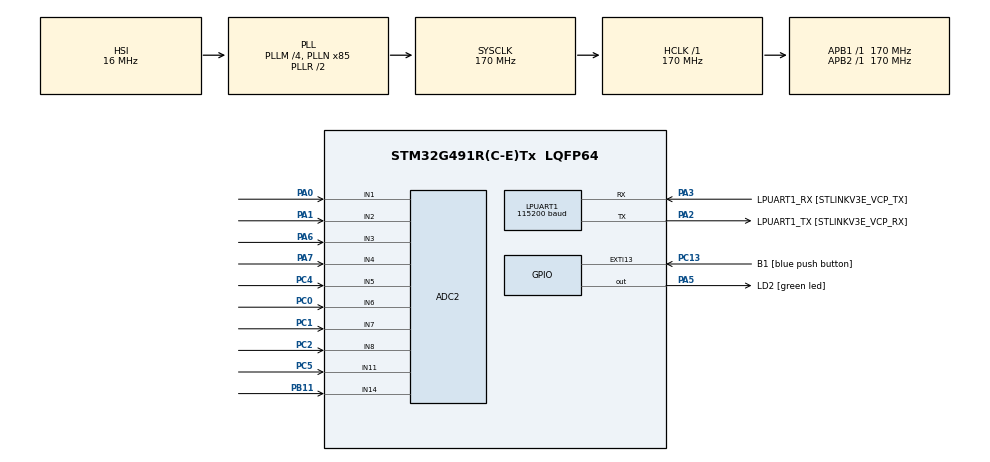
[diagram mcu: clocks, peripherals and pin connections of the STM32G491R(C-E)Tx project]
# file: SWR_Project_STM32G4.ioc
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ADC2.Channel-0\#ChannelRegularConversion=ADC_CHANNEL_1
ADC2.Channel-1\#ChannelRegularConversion=ADC_CHANNEL_2
ADC2.Channel-2\#ChannelRegularConversion=ADC_CHANNEL_3
ADC2.Channel-3\#ChannelRegularConversion=ADC_CHANNEL_4
ADC2.Channel-4\#ChannelRegularConversion=ADC_CHANNEL_5
ADC2.Channel-5\#ChannelRegularConversion=ADC_CHANNEL_6
ADC2.Channel-6\#ChannelRegularConversion=ADC_CHANNEL_7
ADC2.Channel-7\#ChannelRegularConversion=ADC_CHANNEL_8
ADC2.Channel-8\#ChannelRegularConversion=ADC_CHANNEL_11
ADC2.Channel-9\#ChannelRegularConversion=ADC_CHANNEL_14
ADC2.ContinuousConvMode=ENABLE
ADC2.DMAContinuousRequests=ENABLE
ADC2.NbrOfConversion=10
ADC2.NbrOfConversionFlag=1
ADC2.OffsetNumber-0\#ChannelRegularConversion=ADC_OFFSET_NONE
ADC2.OffsetNumber-1\#ChannelRegularConversion=ADC_OFFSET_NONE
ADC2.OffsetNumber-2\#ChannelRegularConversion=ADC_OFFSET_NONE
ADC2.OffsetNumber-3\#ChannelRegularConversion=ADC_OFFSET_NONE
ADC2.OffsetNumber-4\#ChannelRegularConversion=ADC_OFFSET_NONE
ADC2.OffsetNumber-5\#ChannelRegularConversion=ADC_OFFSET_NONE
ADC2.OffsetNumber-6\#ChannelRegularConversion=ADC_OFFSET_NONE
ADC2.OffsetNumber-7\#ChannelRegularConversion=ADC_OFFSET_NONE
ADC2.OffsetNumber-8\#ChannelRegularConversion=ADC_OFFSET_NONE
ADC2.OffsetNumber-9\#ChannelRegularConversion=ADC_OFFSET_NONE
ADC2.Rank-0\#ChannelRegularConversion=1
ADC2.Rank-1\#ChannelRegularConversion=2
ADC2.Rank-2\#ChannelRegularConversion=3
ADC2.Rank-3\#ChannelRegularConversion=4
ADC2.Rank-4\#ChannelRegularConversion=5
ADC2.Rank-5\#ChannelRegularConversion=6
ADC2.Rank-6\#ChannelRegularConversion=7
ADC2.Rank-7\#ChannelRegularConversion=8
ADC2.Rank-8\#ChannelRegularConversion=9
ADC2.Rank-9\#ChannelRegularConversion=10
ADC2.SamplingTime-0\#ChannelRegularConversion=ADC_SAMPLETIME_640CYCLES_5
ADC2.SamplingTime-1\#ChannelRegularConversion=ADC_SAMPLETIME_640CYCLES_5
ADC2.SamplingTime-2\#ChannelRegularConversion=ADC_SAMPLETIME_640CYCLES_5
ADC2.SamplingTime-3\#ChannelRegularConversion=ADC_SAMPLETIME_640CYCLES_5
ADC2.SamplingTime-4\#ChannelRegularConversion=ADC_SAMPLETIME_640CYCLES_5
ADC2.SamplingTime-5\#ChannelRegularConversion=ADC_SAMPLETIME_640CYCLES_5
ADC2.SamplingTime-6\#ChannelRegularConversion=ADC_SAMPLETIME_640CYCLES_5
ADC2.SamplingTime-7\#ChannelRegularConversion=ADC_SAMPLETIME_640CYCLES_5
ADC2.SamplingTime-8\#ChannelRegularConversion=ADC_SAMPLETIME_640CYCLES_5
ADC2.SamplingTime-9\#ChannelRegularConversion=ADC_SAMPLETIME_640CYCLES_5
Dma.ADC2.0.Direction=DMA_PERIPH_TO_MEMORY
Dma.ADC2.0.EventEnable=DISABLE
Dma.ADC2.0.Instance=DMA1_Channel1
Dma.ADC2.0.MemDataAlignment=DMA_MDATAALIGN_HALFWORD
Dma.ADC2.0.MemInc=DMA_MINC_ENABLE
Dma.ADC2.0.Mode=DMA_CIRCULAR
Dma.ADC2.0.PeriphDataAlignment=DMA_PDATAALIGN_HALFWORD
Dma.ADC2.0.PeriphInc=DMA_PINC_DISABLE
Dma.ADC2.0.Polarity=HAL_DMAMUX_REQ_GEN_RISING
Dma.ADC2.0.Priority=DMA_PRIORITY_LOW
Dma.ADC2.0.RequestNumber=1
Dma.ADC2.0.SignalID=NONE
Dma.ADC2.0.SyncEnable=DISABLE
Dma.ADC2.0.SyncPolarity=HAL_DMAMUX_SYNC_NO_EVENT
Dma.ADC2.0.SyncRequestNumber=1
Dma.ADC2.0.SyncSignalID=NONE
Dma.Request0=ADC2
LPUART1.BaudRate=115200
LPUART1.WordLength=UART_WORDLENGTH_8B
Mcu.Family=STM32G4
Mcu.Name=STM32G491R(C-E)Tx
Mcu.Package=LQFP64
NVIC.DMA1_Channel1_IRQn=true\:0\:0\:false\:false\:true\:true\:true\:true
NVIC.EXTI15_10_IRQn=true\:0\:0\:false\:false\:true\:true\:true\:true
NVIC.PriorityGroup=NVIC_PRIORITYGROUP_4
PA0.Mode=IN1-Single-Ended
PA0.Signal=ADC2_IN1
PA1.Mode=IN2-Single-Ended
PA1.Signal=ADC2_IN2
PA13.GPIO_Label=T_SWDIO
PA13.Mode=Serial_Wire
PA13.Signal=SYS_JTMS-SWDIO
PA14.GPIO_Label=T_SWCLK
PA14.Mode=Serial_Wire
PA14.Signal=SYS_JTCK-SWCLK
PA2.GPIO_Label=LPUART1_TX [STLINKV3E_VCP_RX]
PA2.Mode=Asynchronous
PA2.Signal=LPUART1_TX
PA3.GPIO_Label=LPUART1_RX [STLINKV3E_VCP_TX]
PA3.Mode=Asynchronous
PA3.Signal=LPUART1_RX
PA5.GPIO_Label=LD2 [green led]
PA5.Signal=GPIO_Output
PA6.Mode=IN3-Single-Ended
PA6.Signal=ADC2_IN3
PA7.Mode=IN4-Single-Ended
PA7.Signal=ADC2_IN4
PB11.Mode=IN14-Single-Ended
PB11.Signal=ADC2_IN14
PB3.GPIO_Label=T_SWO
PB3.Signal=SYS_JTDO-SWO
PC0.Mode=IN6-Single-Ended
PC0.Signal=ADC2_IN6
PC1.Mode=IN7-Single-Ended
PC1.Signal=ADC2_IN7
PC13.GPIO_Label=B1 [blue push button]
PC13.Signal=GPXTI13
PC14-OSC32_IN.Mode=LSE-External-Oscillator
PC14-OSC32_IN.Signal=RCC_OSC32_IN
PC15-OSC32_OUT.Mode=LSE-External-Oscillator
PC15-OSC32_OUT.Signal=RCC_OSC32_OUT
PC2.Mode=IN8-Single-Ended
PC2.Signal=ADC2_IN8
PC4.Mode=IN5-Single-Ended
PC4.Signal=ADC2_IN5
PC5.Mode=IN11-Single-Ended
PC5.Signal=ADC2_IN11
PF0-OSC_IN.Mode=HSE-External-Oscillator
PF0-OSC_IN.Signal=RCC_OSC_IN
PF1-OSC_OUT.Mode=HSE-External-Oscillator
PF1-OSC_OUT.Signal=RCC_OSC_OUT
ProjectManager.HeapSize=0x200
ProjectManager.StackSize=0x400
ProjectManager.TargetToolchain=STM32CubeIDE
RCC.ADC12Freq_Value=170000000
RCC.ADC345Freq_Value=170000000
RCC.AHBFreq_Value=170000000
RCC.APB1Freq_Value=170000000
RCC.APB1TimFreq_Value=170000000
RCC.APB2Freq_Value=170000000
RCC.APB2TimFreq_Value=170000000
RCC.CortexFreq_Value=170000000
RCC.EXTERNAL_CLOCK_VALUE=12288000
RCC.HCLKFreq_Value=170000000
RCC.HSE_VALUE=24000000
RCC.HSI48_VALUE=48000000
RCC.HSI_VALUE=16000000
RCC.PLLM=RCC_PLLM_DIV4
RCC.PLLN=85
RCC.RTCClockSelection=RCC_RTCCLKSOURCE_LSE
RCC.SYSCLKFreq_VALUE=170000000
RCC.SYSCLKSource=RCC_SYSCLKSOURCE_PLLCLK
RCC.USBFreq_Value=48000000
RCC.VCOOutputFreq_Value=340000000
VP_SYS_VS_DBSignals.Mode=DisableDeadBatterySignals
board=NUCLEO-G491RE

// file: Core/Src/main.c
/* USER CODE BEGIN Header */
/**
  ******************************************************************************
  * @file           : main.c
  * @brief          : Main program body
  ******************************************************************************
  * @attention
  *
  * Copyright (c) 2023 STMicroelectronics.
  * All rights reserved.
  *
  * This software is licensed under terms that can be found in the LICENSE file
  * in the root directory of this software component.
  * If no LICENSE file comes with this software, it is provided AS-IS.
  *
  ******************************************************************************
  */
/* USER CODE END Header */
#include "main.h"

/* USER CODE BEGIN Includes */
#include <string.h>
#include <stdio.h>
/* USER CODE END Includes */

ADC_HandleTypeDef hadc2;
DMA_HandleTypeDef hdma_adc2;

UART_HandleTypeDef hlpuart1;

/* USER CODE BEGIN PV */
// 16bit values read from ADC (DMA)
volatile uint16_t value[10] = {0};

// Calculated voltage for every sensor
volatile float hall_sensor_voltage[3] = {0.0};
volatile float photoresistor_voltage[3] = {0.0};
volatile float vibration_sensor_voltage[4] = {0.0};
/* USER CODE END PV */

void SystemClock_Config(void);
static void MX_GPIO_Init(void);
static void MX_DMA_Init(void);
static void MX_LPUART1_UART_Init(void);
static void MX_ADC2_Init(void);

/* USER CODE BEGIN 0 */
int __io_putchar(int ch)
{
  if (ch == '\n') {
    __io_putchar('\r');
  }

  HAL_UART_Transmit(&hlpuart1, (uint8_t*)&ch, 1, HAL_MAX_DELAY);

  return 1;
}
/* USER CODE END 0 */

int main(void)
{

  /* MCU Configuration--------------------------------------------------------*/

  /* Reset of all peripherals, Initializes the Flash interface and the Systick. */
  HAL_Init();

  /* Configure the system clock */
  SystemClock_Config();

  /* Initialize all configured peripherals */
  MX_GPIO_Init();
  MX_DMA_Init();
  MX_LPUART1_UART_Init();
  MX_ADC2_Init();
  /* USER CODE BEGIN 2 */

  // HAL_ADC_Start_DMA(&hadc1, (uint32_t*)value, 3);

  /* USER CODE END 2 */

  /* Infinite loop */
  /* USER CODE BEGIN WHILE */
  HAL_ADCEx_Calibration_Start(&hadc2, ADC_SINGLE_ENDED);
  HAL_ADC_Start_DMA(&hadc2, (uint32_t*)value, 10);

  while (1)
  {
	  // Calculate voltage values (multiply by 3 to better visible changes on charts on CubeMonitor):
	  hall_sensor_voltage[0] = 3 * (3.3f * value[0] / 4096.0f);
	  hall_sensor_voltage[1] = 3 * (3.3f * value[1] / 4096.0f);
	  hall_sensor_voltage[2] = 3 * (3.3f * value[2] / 4096.0f);

	  photoresistor_voltage[0] = 3 * (3.3f * value[3] / 4096.0f);
	  photoresistor_voltage[1] = 3 * (3.3f * value[4] / 4096.0f);
	  photoresistor_voltage[2] = 3 * (3.3f * value[5] / 4096.0f);

	  vibration_sensor_voltage[0] = 3 * (3.3f * value[6] / 4096.0f);
	  vibration_sensor_voltage[1] = 3 * (3.3f * value[7] / 4096.0f);
	  vibration_sensor_voltage[2] = 3 * (3.3f * value[8] / 4096.0f);
	  vibration_sensor_voltage[3] = 3 * (3.3f * value[9] / 4096.0f);

	  // uint16_t values:
	  // printf("Hall: %d, %d, %d \n", value[0], value[1], value[2]);
	  // printf("Photoresistor: %d, %d, %d \n", value[3], value[4], value[5]);

	  // Calculated to voltage
	  printf("Hall sensor: value1=%.2f, value2=%.2f, value3=%.2f \n", hall_sensor_voltage[0], hall_sensor_voltage[1], hall_sensor_voltage[2]);
	  // printf("Photoresistor: value1=%.2f, value2=%.2f, value3=%.2f  \n", photoresistor_voltage[0], photoresistor_voltage[1], photoresistor_voltage[2]);
	  // printf("Vibration sensor: value1=%.2f, value2=%.2f, value3=%.2f, value4=%.2f \n", vibration_sensor_voltage[0], vibration_sensor_voltage[1], vibration_sensor_voltage[2], vibration_sensor_voltage[3]);

	  HAL_Delay(10);
    /* USER CODE END WHILE */

  }
}

void SystemClock_Config(void)
{
  RCC_OscInitTypeDef RCC_OscInitStruct = {0};
  RCC_ClkInitTypeDef RCC_ClkInitStruct = {0};

  /** Configure the main internal regulator output voltage
  */
  HAL_PWREx_ControlVoltageScaling(PWR_REGULATOR_VOLTAGE_SCALE1_BOOST);

  /** Initializes the RCC Oscillators according to the specified parameters
  * in the RCC_OscInitTypeDef structure.
  */
  RCC_OscInitStruct.OscillatorType = RCC_OSCILLATORTYPE_HSI;
  RCC_OscInitStruct.HSIState = RCC_HSI_ON;
  RCC_OscInitStruct.HSICalibrationValue = RCC_HSICALIBRATION_DEFAULT;
  RCC_OscInitStruct.PLL.PLLState = RCC_PLL_ON;
  RCC_OscInitStruct.PLL.PLLSource = RCC_PLLSOURCE_HSI;
  RCC_OscInitStruct.PLL.PLLM = RCC_PLLM_DIV4;
  RCC_OscInitStruct.PLL.PLLN = 85;
  RCC_OscInitStruct.PLL.PLLP = RCC_PLLP_DIV2;
  RCC_OscInitStruct.PLL.PLLQ = RCC_PLLQ_DIV2;
  RCC_OscInitStruct.PLL.PLLR = RCC_PLLR_DIV2;
  if (HAL_RCC_OscConfig(&RCC_OscInitStruct) != HAL_OK)
  {
    Error_Handler();
  }

  /** Initializes the CPU, AHB and APB buses clocks
  */
  RCC_ClkInitStruct.ClockType = RCC_CLOCKTYPE_HCLK|RCC_CLOCKTYPE_SYSCLK
                              |RCC_CLOCKTYPE_PCLK1|RCC_CLOCKTYPE_PCLK2;
  RCC_ClkInitStruct.SYSCLKSource = RCC_SYSCLKSOURCE_PLLCLK;
  RCC_ClkInitStruct.AHBCLKDivider = RCC_SYSCLK_DIV1;
  RCC_ClkInitStruct.APB1CLKDivider = RCC_HCLK_DIV1;
  RCC_ClkInitStruct.APB2CLKDivider = RCC_HCLK_DIV1;

  if (HAL_RCC_ClockConfig(&RCC_ClkInitStruct, FLASH_LATENCY_4) != HAL_OK)
  {
    Error_Handler();
  }
}

static void MX_ADC2_Init(void)
{

  ADC_ChannelConfTypeDef sConfig = {0};

  /** Common config
  */
  hadc2.Instance = ADC2;
  hadc2.Init.ClockPrescaler = ADC_CLOCK_SYNC_PCLK_DIV4;
  hadc2.Init.Resolution = ADC_RESOLUTION_12B;
  hadc2.Init.DataAlign = ADC_DATAALIGN_RIGHT;
  hadc2.Init.GainCompensation = 0;
  hadc2.Init.ScanConvMode = ADC_SCAN_ENABLE;
  hadc2.Init.EOCSelection = ADC_EOC_SINGLE_CONV;
  hadc2.Init.LowPowerAutoWait = DISABLE;
  hadc2.Init.ContinuousConvMode = ENABLE;
  hadc2.Init.NbrOfConversion = 10;
  hadc2.Init.DiscontinuousConvMode = DISABLE;
  hadc2.Init.ExternalTrigConv = ADC_SOFTWARE_START;
  hadc2.Init.ExternalTrigConvEdge = ADC_EXTERNALTRIGCONVEDGE_NONE;
  hadc2.Init.DMAContinuousRequests = ENABLE;
  hadc2.Init.Overrun = ADC_OVR_DATA_PRESERVED;
  hadc2.Init.OversamplingMode = DISABLE;
  if (HAL_ADC_Init(&hadc2) != HAL_OK)
  {
    Error_Handler();
  }

  /** Configure Regular Channel
  */
  sConfig.Channel = ADC_CHANNEL_1;
  sConfig.Rank = ADC_REGULAR_RANK_1;
  sConfig.SamplingTime = ADC_SAMPLETIME_640CYCLES_5;
  sConfig.SingleDiff = ADC_SINGLE_ENDED;
  sConfig.OffsetNumber = ADC_OFFSET_NONE;
  sConfig.Offset = 0;
  if (HAL_ADC_ConfigChannel(&hadc2, &sConfig) != HAL_OK)
  {
    Error_Handler();
  }

  /** Configure Regular Channel
  */
  sConfig.Channel = ADC_CHANNEL_2;
  sConfig.Rank = ADC_REGULAR_RANK_2;
  if (HAL_ADC_ConfigChannel(&hadc2, &sConfig) != HAL_OK)
  {
    Error_Handler();
  }

  /** Configure Regular Channel
  */
  sConfig.Channel = ADC_CHANNEL_3;
  sConfig.Rank = ADC_REGULAR_RANK_3;
  if (HAL_ADC_ConfigChannel(&hadc2, &sConfig) != HAL_OK)
  {
    Error_Handler();
  }

  /** Configure Regular Channel
  */
  sConfig.Channel = ADC_CHANNEL_4;
  sConfig.Rank = ADC_REGULAR_RANK_4;
  if (HAL_ADC_ConfigChannel(&hadc2, &sConfig) != HAL_OK)
  {
    Error_Handler();
  }

  /** Configure Regular Channel
  */
  sConfig.Channel = ADC_CHANNEL_5;
  sConfig.Rank = ADC_REGULAR_RANK_5;
  if (HAL_ADC_ConfigChannel(&hadc2, &sConfig) != HAL_OK)
  {
    Error_Handler();
  }

  /** Configure Regular Channel
  */
  sConfig.Channel = ADC_CHANNEL_6;
  sConfig.Rank = ADC_REGULAR_RANK_6;
  if (HAL_ADC_ConfigChannel(&hadc2, &sConfig) != HAL_OK)
  {
    Error_Handler();
  }

  /** Configure Regular Channel
  */
  sConfig.Channel = ADC_CHANNEL_7;
  sConfig.Rank = ADC_REGULAR_RANK_7;
  if (HAL_ADC_ConfigChannel(&hadc2, &sConfig) != HAL_OK)
  {
    Error_Handler();
  }

  /** Configure Regular Channel
  */
  sConfig.Channel = ADC_CHANNEL_8;
  sConfig.Rank = ADC_REGULAR_RANK_8;
  if (HAL_ADC_ConfigChannel(&hadc2, &sConfig) != HAL_OK)
  {
    Error_Handler();
  }

  /** Configure Regular Channel
  */
  sConfig.Channel = ADC_CHANNEL_11;
  sConfig.Rank = ADC_REGULAR_RANK_9;
  if (HAL_ADC_ConfigChannel(&hadc2, &sConfig) != HAL_OK)
  {
    Error_Handler();
  }

  /** Configure Regular Channel
  */
  sConfig.Channel = ADC_CHANNEL_14;
  sConfig.Rank = ADC_REGULAR_RANK_10;
  if (HAL_ADC_ConfigChannel(&hadc2, &sConfig) != HAL_OK)
  {
    Error_Handler();
  }

}

static void MX_LPUART1_UART_Init(void)
{

  hlpuart1.Instance = LPUART1;
  hlpuart1.Init.BaudRate = 115200;
  hlpuart1.Init.WordLength = UART_WORDLENGTH_8B;
  hlpuart1.Init.StopBits = UART_STOPBITS_1;
  hlpuart1.Init.Parity = UART_PARITY_NONE;
  hlpuart1.Init.Mode = UART_MODE_TX_RX;
  hlpuart1.Init.HwFlowCtl = UART_HWCONTROL_NONE;
  hlpuart1.Init.OneBitSampling = UART_ONE_BIT_SAMPLE_DISABLE;
  hlpuart1.Init.ClockPrescaler = UART_PRESCALER_DIV1;
  hlpuart1.AdvancedInit.AdvFeatureInit = UART_ADVFEATURE_NO_INIT;
  if (HAL_UART_Init(&hlpuart1) != HAL_OK)
  {
    Error_Handler();
  }
  if (HAL_UARTEx_SetTxFifoThreshold(&hlpuart1, UART_TXFIFO_THRESHOLD_1_8) != HAL_OK)
  {
    Error_Handler();
  }
  if (HAL_UARTEx_SetRxFifoThreshold(&hlpuart1, UART_RXFIFO_THRESHOLD_1_8) != HAL_OK)
  {
    Error_Handler();
  }
  if (HAL_UARTEx_DisableFifoMode(&hlpuart1) != HAL_OK)
  {
    Error_Handler();
  }

}

static void MX_DMA_Init(void)
{

  /* DMA controller clock enable */
  __HAL_RCC_DMAMUX1_CLK_ENABLE();
  __HAL_RCC_DMA1_CLK_ENABLE();

  /* DMA interrupt init */
  /* DMA1_Channel1_IRQn interrupt configuration */
  HAL_NVIC_SetPriority(DMA1_Channel1_IRQn, 0, 0);
  HAL_NVIC_EnableIRQ(DMA1_Channel1_IRQn);

}

static void MX_GPIO_Init(void)
{
  GPIO_InitTypeDef GPIO_InitStruct = {0};

  /* GPIO Ports Clock Enable */
  __HAL_RCC_GPIOC_CLK_ENABLE();
  __HAL_RCC_GPIOF_CLK_ENABLE();
  __HAL_RCC_GPIOA_CLK_ENABLE();
  __HAL_RCC_GPIOB_CLK_ENABLE();

  /*Configure GPIO pin Output Level */
  HAL_GPIO_WritePin(LD2_GPIO_Port, LD2_Pin, GPIO_PIN_RESET);

  /*Configure GPIO pin : B1_Pin */
  GPIO_InitStruct.Pin = B1_Pin;
  GPIO_InitStruct.Mode = GPIO_MODE_IT_RISING;
  GPIO_InitStruct.Pull = GPIO_NOPULL;
  HAL_GPIO_Init(B1_GPIO_Port, &GPIO_InitStruct);

  /*Configure GPIO pin : LD2_Pin */
  GPIO_InitStruct.Pin = LD2_Pin;
  GPIO_InitStruct.Mode = GPIO_MODE_OUTPUT_PP;
  GPIO_InitStruct.Pull = GPIO_NOPULL;
  GPIO_InitStruct.Speed = GPIO_SPEED_FREQ_LOW;
  HAL_GPIO_Init(LD2_GPIO_Port, &GPIO_InitStruct);

  /* EXTI interrupt init*/
  HAL_NVIC_SetPriority(EXTI15_10_IRQn, 0, 0);
  HAL_NVIC_EnableIRQ(EXTI15_10_IRQn);

}

void Error_Handler(void)
{
  __disable_irq();
  while (1)
  {
  }
}
